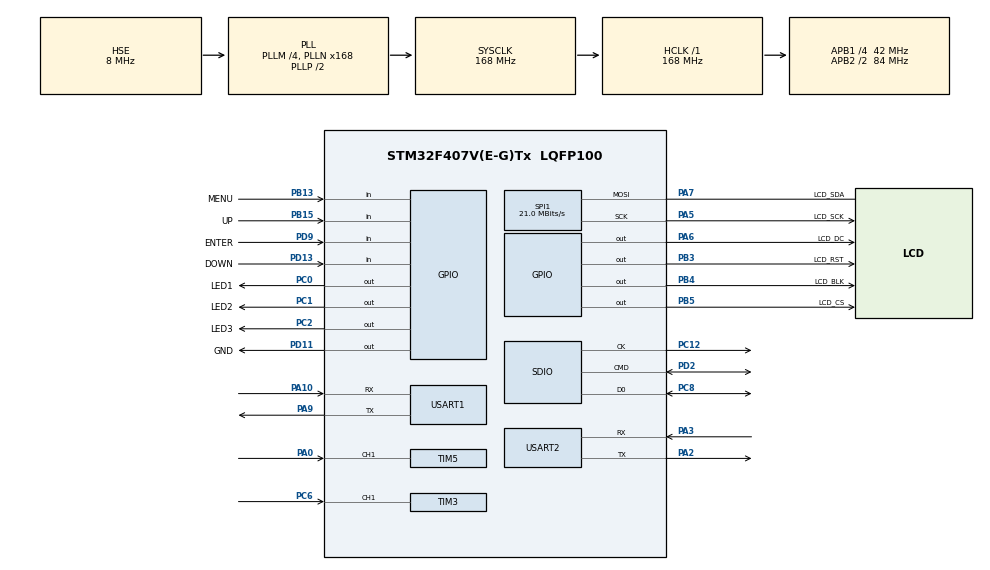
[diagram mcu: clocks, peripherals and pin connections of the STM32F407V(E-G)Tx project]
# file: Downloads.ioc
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Dma.Request0=USART2_RX
Dma.Request1=USART2_TX
Dma.USART2_RX.0.Direction=DMA_PERIPH_TO_MEMORY
Dma.USART2_RX.0.FIFOMode=DMA_FIFOMODE_DISABLE
Dma.USART2_RX.0.Instance=DMA1_Stream5
Dma.USART2_RX.0.MemDataAlignment=DMA_MDATAALIGN_BYTE
Dma.USART2_RX.0.MemInc=DMA_MINC_ENABLE
Dma.USART2_RX.0.Mode=DMA_CIRCULAR
Dma.USART2_RX.0.PeriphDataAlignment=DMA_PDATAALIGN_BYTE
Dma.USART2_RX.0.PeriphInc=DMA_PINC_DISABLE
Dma.USART2_RX.0.Priority=DMA_PRIORITY_LOW
Dma.USART2_TX.1.Direction=DMA_MEMORY_TO_PERIPH
Dma.USART2_TX.1.FIFOMode=DMA_FIFOMODE_DISABLE
Dma.USART2_TX.1.Instance=DMA1_Stream6
Dma.USART2_TX.1.MemDataAlignment=DMA_MDATAALIGN_BYTE
Dma.USART2_TX.1.MemInc=DMA_MINC_ENABLE
Dma.USART2_TX.1.Mode=DMA_NORMAL
Dma.USART2_TX.1.PeriphDataAlignment=DMA_PDATAALIGN_BYTE
Dma.USART2_TX.1.PeriphInc=DMA_PINC_DISABLE
Dma.USART2_TX.1.Priority=DMA_PRIORITY_HIGH
FREERTOS.BinarySemaphores01=LED,Dynamic,NULL,Available
FREERTOS.Events01=PWM_Value_Status,Dynamic,NULL;Is_motor_action_finish,Dynamic,NULL
FREERTOS.Mutexes01=motor,Dynamic,NULL,Available
FREERTOS.Queues01=PWM_Value,2,uint16_t,0,Dynamic,NULL,NULL
FREERTOS.Tasks01=defaultTask,24,128,StartDefaultTask,Default,NULL,Dynamic,NULL,NULL;LED_spark,9,128,LED_onAndOff,Default,NULL,Dynamic,NULL,NULL;motor_test,31,128,motor_test_Task,Default,NULL,Dynamic,NULL,NULL;get_print_PWM,51,128,get_and_print_PWM_Task,Default,NULL,Dynamic,NULL,NULL
Mcu.Family=STM32F4
Mcu.Name=STM32F407V(E-G)Tx
Mcu.Package=LQFP100
Mcu.UserConstants=PWM_Value_Captured,0x01;PWM_Value_Processed,0x02
NVIC.DMA1_Stream5_IRQn=true\:5\:0\:false\:false\:true\:true\:false\:true\:true
NVIC.DMA1_Stream6_IRQn=true\:5\:0\:false\:false\:true\:true\:false\:true\:true
NVIC.PriorityGroup=NVIC_PRIORITYGROUP_4
NVIC.SDIO_IRQn=true\:7\:0\:true\:false\:true\:true\:true\:true\:true
NVIC.TIM8_TRG_COM_TIM14_IRQn=true\:15\:0\:false\:false\:true\:false\:false\:true\:true
NVIC.TimeBase=TIM8_TRG_COM_TIM14_IRQn
NVIC.TimeBaseIP=TIM14
NVIC.USART2_IRQn=true\:5\:0\:false\:false\:true\:true\:true\:true\:true
PA0-WKUP.Signal=S_TIM5_CH1
PA10.Mode=Asynchronous
PA10.Signal=USART1_RX
PA13.Mode=Serial_Wire
PA13.Signal=SYS_JTMS-SWDIO
PA14.Mode=Serial_Wire
PA14.Signal=SYS_JTCK-SWCLK
PA2.Mode=Asynchronous
PA2.Signal=USART2_TX
PA3.Mode=Asynchronous
PA3.Signal=USART2_RX
PA5.GPIO_Label=LCD_SCK
PA5.Mode=Simplex_Bidirectional_Master
PA5.Signal=SPI1_SCK
PA6.GPIO_Label=LCD_DC
PA6.Signal=GPIO_Output
PA7.GPIO_Label=LCD_SDA
PA7.Mode=Simplex_Bidirectional_Master
PA7.Signal=SPI1_MOSI
PA9.Mode=Asynchronous
PA9.Signal=USART1_TX
PB13.GPIO_Label=MENU
PB13.GPIO_PuPd=GPIO_PULLUP
PB13.Signal=GPIO_Input
PB15.GPIO_Label=UP
PB15.GPIO_PuPd=GPIO_PULLUP
PB15.Signal=GPIO_Input
PB3.GPIO_Label=LCD_RST
PB3.Signal=GPIO_Output
PB4.GPIO_Label=LCD_BLK
PB4.Signal=GPIO_Output
PB5.GPIO_Label=LCD_CS
PB5.Signal=GPIO_Output
PC0.GPIO_Label=LED1
PC0.Signal=GPIO_Output
PC1.GPIO_Label=LED2
PC1.PinState=GPIO_PIN_SET
PC1.Signal=GPIO_Output
PC12.Mode=SD_1_bit
PC12.Signal=SDIO_CK
PC2.GPIO_Label=LED3
PC2.PinState=GPIO_PIN_SET
PC2.Signal=GPIO_Output
PC6.Signal=S_TIM3_CH1
PC8.GPIO_PuPd=GPIO_PULLUP
PC8.Mode=SD_1_bit
PC8.Signal=SDIO_D0
PD11.GPIO_Label=GND
PD11.GPIO_PuPd=GPIO_PULLDOWN
PD11.PinState=GPIO_PIN_RESET
PD11.Signal=GPIO_Output
PD13.GPIO_Label=DOWN
PD13.GPIO_PuPd=GPIO_PULLUP
PD13.Signal=GPIO_Input
PD2.GPIO_PuPd=GPIO_PULLUP
PD2.Mode=SD_1_bit
PD2.Signal=SDIO_CMD
PD9.GPIO_Label=ENTER
PD9.GPIO_PuPd=GPIO_PULLUP
PD9.Signal=GPIO_Input
PH0-OSC_IN.Mode=HSE-External-Oscillator
PH0-OSC_IN.Signal=RCC_OSC_IN
PH1-OSC_OUT.Mode=HSE-External-Oscillator
PH1-OSC_OUT.Signal=RCC_OSC_OUT
ProjectManager.HeapSize=0x400
ProjectManager.StackSize=0x1000
ProjectManager.TargetToolchain=MDK-ARM V5.32
RCC.48MHZClocksFreq_Value=48000000
RCC.AHBFreq_Value=168000000
RCC.APB1CLKDivider=RCC_HCLK_DIV4
RCC.APB1Freq_Value=42000000
RCC.APB1TimFreq_Value=84000000
RCC.APB2CLKDivider=RCC_HCLK_DIV2
RCC.APB2Freq_Value=84000000
RCC.APB2TimFreq_Value=168000000
RCC.CortexFreq_Value=168000000
RCC.HCLKFreq_Value=168000000
RCC.HSE_VALUE=8000000
RCC.HSI_VALUE=16000000
RCC.LSE_VALUE=32768
RCC.PLLM=4
RCC.PLLN=168
RCC.PLLQ=7
RCC.PLLSourceVirtual=RCC_PLLSOURCE_HSE
RCC.SYSCLKFreq_VALUE=168000000
RCC.SYSCLKSource=RCC_SYSCLKSOURCE_PLLCLK
RCC.VCOOutputFreq_Value=336000000
SDIO.ClockDiv=0
SH.S_TIM3_CH1.0=TIM3_CH1,TriggerSource_TI1FP1
SH.S_TIM3_CH1.1=TIM3_CH1,Input_Capture1_from_TI1
SH.S_TIM5_CH1.0=TIM5_CH1,PWM_Input_1
SPI1.BaudRatePrescaler=SPI_BAUDRATEPRESCALER_4
SPI1.CLKPhase=SPI_PHASE_2EDGE
SPI1.CLKPolarity=SPI_POLARITY_HIGH
SPI1.CalculateBaudRate=21.0 MBits/s
SPI1.Direction=SPI_DIRECTION_1LINE
SPI1.Mode=SPI_MODE_MASTER
SPI1.VirtualType=VM_MASTER
TIM3.Channel-Input_Capture1_from_TI1=TIM_CHANNEL_1
TIM3.Channel-Input_Capture2_from_TI1_63=TIM_CHANNEL_2
TIM3.ICFilter_CH1=3
TIM3.ICPolarity_CH1=TIM_INPUTCHANNELPOLARITY_RISING
TIM3.ICPolarity_CH2=TIM_INPUTCHANNELPOLARITY_FALLING
TIM3.Prescaler=25
TIM5.ICFilter_1=3
TIM5.ICFilter_2=3
TIM5.Prescaler=25
USART1.VirtualMode=VM_ASYNC
USART2.VirtualMode=VM_ASYNC
VP_FATFS_VS_SDIO.Mode=SDIO
VP_FREERTOS_VS_CMSIS_V2.Mode=CMSIS_V2
VP_SYS_VS_tim14.Mode=TIM14
VP_TIM3_VS_ClockSourceINT.Mode=Internal
VP_TIM3_VS_ControllerModeReset.Mode=Reset Mode
VP_TIM3_VS_indirect_ch1.Mode=Input_Capture2_from_TI1_63
VP_TIM4_VS_ClockSourceINT.Mode=Internal
board=custom

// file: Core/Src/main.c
/* USER CODE BEGIN Header */
/**
 ******************************************************************************
 * @file           : main.c
 * @brief          : Main program body
 ******************************************************************************
 * @attention
 *
 * Copyright (c) 2025 STMicroelectronics.
 * All rights reserved.
 *
 * This software is licensed under terms that can be found in the LICENSE file
 * in the root directory of this software component.
 * If no LICENSE file comes with this software, it is provided AS-IS.
 *
 ******************************************************************************
 */
/* USER CODE END Header */
#include "main.h"
#include "cmsis_os.h"
#include "dma.h"
#include "fatfs.h"
#include "sdio.h"
#include "spi.h"
#include "tim.h"
#include "usart.h"
#include "gpio.h"

/* USER CODE BEGIN Includes */
#include <stdlib.h>
#include "my_menu.h"
#include "delay.h"
#include "usart.h"
#include "usmart.h"
/* USER CODE END Includes */

/* USER CODE BEGIN PV */
static uint16_t line_buffer[320];
uint8_t angle = 0;

lcd_io lcd_io_desc = {
    .spi = &hspi1,
    .rst = {LCD_RST_GPIO_Port, LCD_RST_Pin, 0},
    .bl = {LCD_BLK_GPIO_Port, LCD_BLK_Pin, 0},
    .cs = {LCD_CS_GPIO_Port, LCD_CS_Pin, 0},
    .dc = {LCD_DC_GPIO_Port, LCD_DC_Pin, 0},
    //.te  = { /* TE */ }
};

lcd lcd_desc = {
    .io = &lcd_io_desc,
    .line_buffer = line_buffer,
};
/* USER CODE END PV */

void SystemClock_Config(void);
void MX_FREERTOS_Init(void);
/* USER CODE BEGIN PFP */
void Before_Main(void);
/* USER CODE END PFP */

int main(void)
{

  /* MCU Configuration--------------------------------------------------------*/

  /* Reset of all peripherals, Initializes the Flash interface and the Systick. */
  HAL_Init();

  /* Configure the system clock */
  SystemClock_Config();

  /* Initialize all configured peripherals */
  MX_GPIO_Init();
  MX_DMA_Init();
  MX_SDIO_SD_Init();
  MX_FATFS_Init();
  MX_SPI1_Init();
  MX_TIM3_Init();
  MX_TIM4_Init();
  MX_TIM5_Init();
  MX_USART1_UART_Init();
  MX_USART2_UART_Init();
  /* USER CODE BEGIN 2 */
  delay_init(168);
  usart_init(115200);
  usmart_dev.init(84);
  lcd_init_dev(&lcd_desc, LCD_2_00_INCH, LCD_ROTATE_270);

  lcd_print(&lcd_desc, 0, 10, "> X Pulse");
  lcd_print(&lcd_desc, 0, 30, "> STM32 lcd demo");
  lcd_print(&lcd_desc, 0, 50, "> LCD 2.0 inch 320x240");
  lcd_print(&lcd_desc, 0, 70, "> 2024/9/1");

  led_off();
  lcd_set_font(&lcd_desc, FONT_3216, YELLOW, BLACK);
  Menu_Init();
  cotMenu_Task();
  HAL_TIM_IC_Start(&htim3, TIM_CHANNEL_1);
  HAL_TIM_IC_Start(&htim3, TIM_CHANNEL_2);
  HAL_TIM_IC_Start(&htim5, TIM_CHANNEL_1);
  HAL_TIM_IC_Start(&htim5, TIM_CHANNEL_2);
  __HAL_UART_CLEAR_IDLEFLAG(&huart2);          // 清除IDLE标志
  __HAL_UART_ENABLE_IT(&huart2, UART_IT_IDLE); // 使能串UART1 IDLE中断
  Before_Main();
  /* USER CODE END 2 */

  /* Init scheduler */
  osKernelInitialize();

  /* Call init function for freertos objects (in cmsis_os2.c) */
  MX_FREERTOS_Init();

  /* Start scheduler */
  osKernelStart();

  /* We should never get here as control is now taken by the scheduler */

  /* Infinite loop */
  /* USER CODE BEGIN WHILE */
  while (1)
  {
    Lcd_MenuTask();
    /* USER CODE END WHILE */

  }
}

void SystemClock_Config(void)
{
  RCC_OscInitTypeDef RCC_OscInitStruct = {0};
  RCC_ClkInitTypeDef RCC_ClkInitStruct = {0};

  /** Configure the main internal regulator output voltage
  */
  __HAL_RCC_PWR_CLK_ENABLE();
  __HAL_PWR_VOLTAGESCALING_CONFIG(PWR_REGULATOR_VOLTAGE_SCALE1);

  /** Initializes the RCC Oscillators according to the specified parameters
  * in the RCC_OscInitTypeDef structure.
  */
  RCC_OscInitStruct.OscillatorType = RCC_OSCILLATORTYPE_HSE;
  RCC_OscInitStruct.HSEState = RCC_HSE_ON;
  RCC_OscInitStruct.PLL.PLLState = RCC_PLL_ON;
  RCC_OscInitStruct.PLL.PLLSource = RCC_PLLSOURCE_HSE;
  RCC_OscInitStruct.PLL.PLLM = 4;
  RCC_OscInitStruct.PLL.PLLN = 168;
  RCC_OscInitStruct.PLL.PLLP = RCC_PLLP_DIV2;
  RCC_OscInitStruct.PLL.PLLQ = 7;
  if (HAL_RCC_OscConfig(&RCC_OscInitStruct) != HAL_OK)
  {
    Error_Handler();
  }

  /** Initializes the CPU, AHB and APB buses clocks
  */
  RCC_ClkInitStruct.ClockType = RCC_CLOCKTYPE_HCLK|RCC_CLOCKTYPE_SYSCLK
                              |RCC_CLOCKTYPE_PCLK1|RCC_CLOCKTYPE_PCLK2;
  RCC_ClkInitStruct.SYSCLKSource = RCC_SYSCLKSOURCE_PLLCLK;
  RCC_ClkInitStruct.AHBCLKDivider = RCC_SYSCLK_DIV1;
  RCC_ClkInitStruct.APB1CLKDivider = RCC_HCLK_DIV4;
  RCC_ClkInitStruct.APB2CLKDivider = RCC_HCLK_DIV2;

  if (HAL_RCC_ClockConfig(&RCC_ClkInitStruct, FLASH_LATENCY_5) != HAL_OK)
  {
    Error_Handler();
  }
}

/* USER CODE BEGIN 4 */

// 添加app_main函数
void Before_Main(void)
{
  printf("App main started\r\n");
  all_leds_off();
  HAL_Delay(200);
  led1_on();
  HAL_Delay(200);
  led1_off();
  led2_on();
  HAL_Delay(200);
  led2_off();
  led3_on();
  HAL_Delay(200);
  led3_off();
}
/* USER CODE END 4 */

void HAL_TIM_PeriodElapsedCallback(TIM_HandleTypeDef *htim)
{
  if (htim->Instance == TIM14) {
    HAL_IncTick();
  }
}

void Error_Handler(void)
{
  __disable_irq();
  while (1)
  {
  }
}

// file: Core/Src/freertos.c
/* USER CODE BEGIN Header */
/**
 ******************************************************************************
 * File Name          : freertos.c
 * Description        : Code for freertos applications
 ******************************************************************************
 * @attention
 *
 * Copyright (c) 2025 STMicroelectronics.
 * All rights reserved.
 *
 * This software is licensed under terms that can be found in the LICENSE file
 * in the root directory of this software component.
 * If no LICENSE file comes with this software, it is provided AS-IS.
 *
 ******************************************************************************
 */
/* USER CODE END Header */

#include "FreeRTOS.h"
#include "task.h"
#include "main.h"
#include "cmsis_os.h"

/* USER CODE BEGIN Includes */
#include "Emm_V5.h"
/* USER CODE END Includes */

/* USER CODE BEGIN Variables */
extern TIM_HandleTypeDef htim3;
extern TIM_HandleTypeDef htim5;
/* USER CODE END Variables */
/* Definitions for defaultTask */
osThreadId_t defaultTaskHandle;
const osThreadAttr_t defaultTask_attributes = {
    .name = "defaultTask",
    .stack_size = 128 * 4,
    .priority = (osPriority_t)osPriorityNormal,
};
/* Definitions for LED_spark */
osThreadId_t LED_sparkHandle;
const osThreadAttr_t LED_spark_attributes = {
    .name = "LED_spark",
    .stack_size = 128 * 4,
    .priority = (osPriority_t)osPriorityLow1,
};
/* Definitions for motor_test */
osThreadId_t motor_testHandle;
const osThreadAttr_t motor_test_attributes = {
    .name = "motor_test",
    .stack_size = 128 * 4,
    .priority = (osPriority_t)osPriorityNormal7,
};
/* Definitions for get_print_PWM */
osThreadId_t get_print_PWMHandle;
const osThreadAttr_t get_print_PWM_attributes = {
    .name = "get_print_PWM",
    .stack_size = 128 * 4,
    .priority = (osPriority_t)osPriorityRealtime3,
};
/* Definitions for PWM_Value */
osMessageQueueId_t PWM_ValueHandle;
const osMessageQueueAttr_t PWM_Value_attributes = {
    .name = "PWM_Value"};
/* Definitions for motor */
osMutexId_t motorHandle;
const osMutexAttr_t motor_attributes = {
    .name = "motor"};
/* Definitions for LED */
osSemaphoreId_t LEDHandle;
const osSemaphoreAttr_t LED_attributes = {
    .name = "LED"};
/* Definitions for PWM_Value_Status */
osEventFlagsId_t PWM_Value_StatusHandle;
const osEventFlagsAttr_t PWM_Value_Status_attributes = {
    .name = "PWM_Value_Status"};
/* Definitions for Is_motor_action_finish */
osEventFlagsId_t Is_motor_action_finishHandle;
const osEventFlagsAttr_t Is_motor_action_finish_attributes = {
    .name = "Is_motor_action_finish"};

void StartDefaultTask(void *argument);
void LED_onAndOff(void *argument);
void motor_test_Task(void *argument);
void get_and_print_PWM_Task(void *argument);

void MX_FREERTOS_Init(void); /* (MISRA C 2004 rule 8.1) */

void MX_FREERTOS_Init(void)
{
  /* USER CODE BEGIN Init */
  printf("FreeRTOS Init starting...\r\n");
  /* USER CODE END Init */
  /* Create the mutex(es) */
  /* creation of motor */
  motorHandle = osMutexNew(&motor_attributes);

  /* Create the semaphores(s) */
  /* creation of LED */
  LEDHandle = osSemaphoreNew(1, 1, &LED_attributes);

  /* Create the queue(s) */
  /* creation of PWM_Value */
  PWM_ValueHandle = osMessageQueueNew(2, sizeof(uint16_t), &PWM_Value_attributes);

  /* Create the thread(s) */
  /* creation of defaultTask */
  defaultTaskHandle = osThreadNew(StartDefaultTask, NULL, &defaultTask_attributes);

  /* creation of LED_spark */
  LED_sparkHandle = osThreadNew(LED_onAndOff, NULL, &LED_spark_attributes);

  /* creation of motor_test */
  motor_testHandle = osThreadNew(motor_test_Task, NULL, &motor_test_attributes);

  /* creation of get_print_PWM */
  get_print_PWMHandle = osThreadNew(get_and_print_PWM_Task, NULL, &get_print_PWM_attributes);

  /* creation of PWM_Value_Status */
  PWM_Value_StatusHandle = osEventFlagsNew(&PWM_Value_Status_attributes);

  /* creation of Is_motor_action_finish */
  Is_motor_action_finishHandle = osEventFlagsNew(&Is_motor_action_finish_attributes);

  /* USER CODE BEGIN RTOS_EVENTS */
  /* add events, ... */
  osEventFlagsSet(Is_motor_action_finishHandle, PWM_Value_Processed); // 设置电机动作完成事件标志
  /* USER CODE END RTOS_EVENTS */
}

void StartDefaultTask(void *argument)
{
  /* USER CODE BEGIN StartDefaultTask */
  printf("Default task started\r\n");
  /* Infinite loop */
  for (;;)
  {
    osDelay(1);
  }
  /* USER CODE END StartDefaultTask */
}

void LED_onAndOff(void *argument)
{
  /* USER CODE BEGIN LED_onAndOff */
  printf("LED task started\r\n");
  /* Infinite loop */
  for (;;)
  {
    led1_on();
    vTaskDelay(1000);
    led1_off();
    vTaskDelay(1000);
    led2_on();
    vTaskDelay(1000);
    led2_off();
    vTaskDelay(1000);
    led3_on();
    vTaskDelay(1000);
    led3_off();
    vTaskDelay(1000);
  }
  /* USER CODE END LED_onAndOff */
}

void motor_test_Task(void *argument)
{
  /* USER CODE BEGIN motor_test_Task */
  /* Infinite loop */
  for (;;)
  {
    osEventFlagsWait(PWM_Value_StatusHandle, PWM_Value_Captured, osFlagsWaitAny, osWaitForever); // 等待PWM值捕获事件
    // 获取消息队列中的值
    uint16_t pwm1_value, pwm2_value;
    osMessageQueueGet(PWM_ValueHandle, &pwm1_value, NULL, 3);
    Emm_V5_Pos_Control(1, 0, 1000, 0, pwm1_value * 10, true, false); // 正转
    osDelay(3);
    osMessageQueueGet(PWM_ValueHandle, &pwm2_value, NULL, 3);
    Emm_V5_Pos_Control(2, 0, 1000, 0, pwm2_value * 10, true, false);    // 正转
    osEventFlagsSet(Is_motor_action_finishHandle, PWM_Value_Processed); // 设置电机动作完成事件标志
    osDelay(3);
  }
  /* USER CODE END motor_test_Task */
}

void get_and_print_PWM_Task(void *argument)
{
  /* USER CODE BEGIN get_and_print_PWM_Task */
  /* Infinite loop */
  for (;;)
  {
    // 等待处理完PWM_Value完成事件
    osEventFlagsWait(Is_motor_action_finishHandle, PWM_Value_Processed, osFlagsWaitAny, osWaitForever);
    // 读取TIM3的CCR2
    uint32_t pwm1_value = __HAL_TIM_GET_COMPARE(&htim3, TIM_CHANNEL_2);
    // 读取TIM5的CCR2
    uint32_t pwm2_value = __HAL_TIM_GET_COMPARE(&htim5, TIM_CHANNEL_2);
    // 把这两个值放入消息队列中
    osMessageQueuePut(PWM_ValueHandle, &pwm2_value, 0, 3);
    osMessageQueuePut(PWM_ValueHandle, &pwm1_value, 0, 3);
    // 打印PWM值
    static uint16_t Print_count = 0;
    if (Print_count++ >= 100) // 每100次打印一次
    {
      printf("PWM1 Value: %lu, PWM2 Value: %lu\r\n", pwm1_value, pwm2_value);
      Print_count = 0; // 重置计数器
    }
    osEventFlagsSet(PWM_Value_StatusHandle, PWM_Value_Captured); // 设置PWM值状态事件标志
  }
  /* USER CODE END get_and_print_PWM_Task */
}
